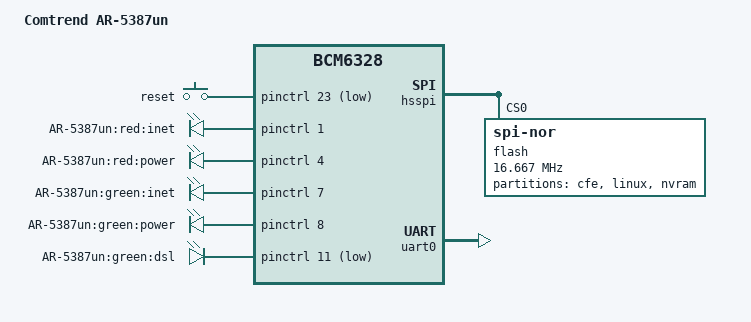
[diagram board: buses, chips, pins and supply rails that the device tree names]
/dts-v1/;

#include "bcm6328.dtsi"

#include <dt-bindings/input/input.h>

/ {
	model = "Comtrend AR-5387un";
	compatible = "comtrend,ar-5387un", "brcm,bcm6328";

	chosen {
		bootargs = "rootfstype=squashfs,jffs2 noinitrd console=ttyS0,115200";
		stdout-path = "serial0:115200n8";
	};

	gpio-keys-polled {
		compatible = "gpio-keys-polled";
		#address-cells = <1>;
		#size-cells = <0>;
		poll-interval = <20>;
		debounce-interval = <60>;

		reset {
			label = "reset";
			gpios = <&pinctrl 23 1>;
			linux,code = <KEY_RESTART>;
		};
	};

	gpio-leds {
		compatible = "gpio-leds";

		inet_red {
			label = "AR-5387un:red:inet";
			gpios = <&pinctrl 1 0>;
		};
		power_red {
			label = "AR-5387un:red:power";
			gpios = <&pinctrl 4 0>;
		};
		inet_green {
			label = "AR-5387un:green:inet";
			gpios = <&pinctrl 7 0>;
		};
		power_green {
			label = "AR-5387un:green:power";
			gpios = <&pinctrl 8 0>;
			default-state = "on";
		};
		dsl_green {
			label = "AR-5387un:green:dsl";
			gpios = <&pinctrl 11 1>;
		};
	};
};

&hsspi {
	status = "ok";

	flash@0 {
		compatible = "jedec,spi-nor";
		spi-max-frequency = <16666667>;
		spi-tx-bus-width = <2>;
		spi-rx-bus-width = <2>;
		reg = <0>;

		#address-cells = <1>;
		#size-cells = <1>;

		partitions {
			compatible = "fixed-partitions";
			#address-cells = <1>;
			#size-cells = <1>;

			cfe@0 {
				reg = <0x000000 0x010000>;
				label = "cfe";
				read-only;
			};

			linux@10000 {
				reg = <0x010000 0xfe0000>;
				label = "linux";
				compatible = "brcm,bcm963xx-imagetag";
			};

			nvram@ff0000 {
				reg = <0xff0000 0x010000>;
				label = "nvram";
			};
		};
	};
};

&uart0 {
	status = "ok";
};
